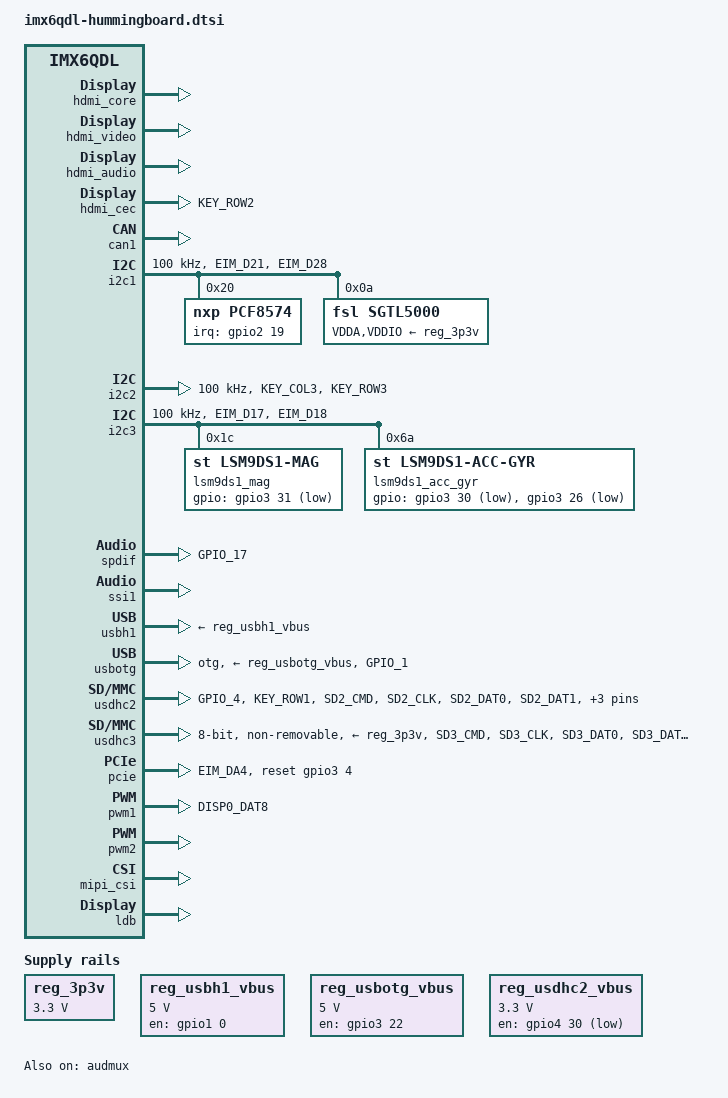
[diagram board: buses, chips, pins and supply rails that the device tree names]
 /*
 * Copyright (C) 2013,2014 Russell King
 */
#include "imx6qdl-microsom.dtsi"
#include "imx6qdl-microsom-ar8035.dtsi"

/ {
	chosen {
		bootargs = "quiet console=ttymxc0,9600 root=/dev/mmcblk1p1 rw";
	};

	aliases {
		mxcfb0 = &mxcfb1;
	};

	//ir_recv: ir-receiver {
	//	compatible = "gpio-ir-receiver";
	//	gpios = <&gpio3 5 1>;
	//	pinctrl-names = "default";
	//	pinctrl-0 = <&pinctrl_hummingboard_gpio3_5>;
	//	linux,rc-map-name = "rc-rc6-mce";
	//};

	regulators {
		compatible = "simple-bus";

		reg_3p3v: 3p3v {
			compatible = "regulator-fixed";
			regulator-name = "3P3V";
			regulator-min-microvolt = <3300000>;
			regulator-max-microvolt = <3300000>;
			regulator-always-on;
		};

		reg_usbh1_vbus: usb-h1-vbus {
			compatible = "regulator-fixed";
			enable-active-high;
			gpio = <&gpio1 0 0>;
			pinctrl-names = "default";
			pinctrl-0 = <&pinctrl_hummingboard_usbh1_vbus>;
			regulator-name = "usb_h1_vbus";
			regulator-min-microvolt = <5000000>;
			regulator-max-microvolt = <5000000>;
		};

		reg_usbotg_vbus: usb-otg-vbus {
			compatible = "regulator-fixed";
			enable-active-high;
			gpio = <&gpio3 22 0>;
			pinctrl-names = "default";
			pinctrl-0 = <&pinctrl_hummingboard_usbotg_vbus>;
			regulator-name = "usb_otg_vbus";
			regulator-min-microvolt = <5000000>;
			regulator-max-microvolt = <5000000>;
		};

		reg_usdhc2_vbus: usdhc-2-vbus {
			compatible = "regulator-fixed";
			regulator-name = "USDHC2-VBUS";
			gpio = <&gpio4 30 0>;
			pinctrl-names = "default";
			pinctrl-0 = <&pinctrl_hummingboard2_usdhc2_pwr>;
			regulator-min-microvolt = <3300000>;
			regulator-max-microvolt = <3300000>;
                };
	};


	sound-sgtl5000 {
		audio-codec = <&sgtl5000>;
		audio-routing =
			"MIC_IN", "Mic Jack",
			"Mic Jack", "Mic Bias",
			"Headphone Jack", "HP_OUT";
		compatible = "fsl,imx-audio-sgtl5000";
		model = "On-board Codec";
		mux-ext-port = <5>;
		mux-int-port = <1>;
		ssi-controller = <&ssi1>;
	};

	sound-spdif {
		compatible = "fsl,imx-audio-spdif";
		model = "imx-spdif";
		spdif-controller = <&spdif>;
		spdif-out;
	};
	

	sound-hdmi {
		compatible = "fsl,imx6q-audio-hdmi",
			     "fsl,imx-audio-hdmi";
		model = "imx-audio-hdmi";
		hdmi-controller = <&hdmi_audio>;
	};


	mxcfb1: fb@0 {
		compatible = "fsl,mxc_sdc_fb";
		disp_dev = "ldb";
		interface_pix_fmt = "RGB666";
		mode_str ="320x480M@60";
		default_bpp = <18>;
		int_clk = <0>;
		late_init = <0>;
		status = "okay";
	};

	//v4l2_cap_0 {
	//	compatible = "fsl,imx6q-v4l2-capture";
	//	ipu_id = <0>;
	//	csi_id = <1>;
	//	mclk_source = <0>;
	//	mipi_camera = <1>;
	//	default_input = <1>;
	//	status = "okay";
	//};

	//v4l2_out {
	//	compatible = "fsl,mxc_v4l2_output";
	//	status = "okay";
	//};
};

&hdmi_core {
	ipu_id = <0>;
	disp_id = <0>;
	status = "okay";
};

&hdmi_video {
	fsl,phy_reg_vlev = <0x0294>;
	fsl,phy_reg_cksymtx = <0x800d>;
	status = "okay";
};

&hdmi_audio {
	status = "okay";
};

&hdmi_cec {
	pinctrl-names = "default";
	pinctrl-0 = <&pinctrl_hummingboard_hdmi>;
	status = "okay";
};

&audmux {
	status = "okay";
};

&can1 {
	pinctrl-names = "default";
	status = "okay";
};

&i2c1 {
	clock-frequency = <100000>;
	pinctrl-names = "default";
	pinctrl-0 = <&pinctrl_hummingboard_i2c1>;
	status = "okay";

	pcf8574: gpio@20 {
		compatible = "nxp,pcf8574";
		reg = <0x20>;

		pinctrl-names = "default";
		pinctrl-0 = <&pinctrl_hummingboard_gpio2_19>;

		interrupt-parent = <&gpio2>;
		interrupts = <19 1>;

		gpio-controller;
		#gpio-cells = <2>;

		interrupt-controller;
		#interrupt-cells = <2>;
	};

	/* Pro model */
	//rtc: pcf8523@68 {
	//	compatible = "nxp,pcf8523";
	//	reg = <0x68>;
	//};

	/* Pro model */
	sgtl5000: sgtl5000@0a {
		clocks = <&clks 201>;
		compatible = "fsl,sgtl5000";
		pinctrl-0 = <&pinctrl_hummingboard_sgtl5000>;
		pinctrl-names = "default";
		reg = <0x0a>;
		VDDA-supply = <&reg_3p3v>;
		VDDIO-supply = <&reg_3p3v>;
	};

	/* Raspberry Pi camera rev 1.3 */
	//ov5647_mipi: ov5647_mipi@36 {
	//	compatible = "ovti,ov5647_mipi";
	//	reg = <0x36>;
	//	/* Pi camera has its own 25MHz clock. */
	//	clocks = <&clks 0>;
	//	clock-names = "csi_mclk";
	//	DOVDD-supply = <&reg_3p3v>;
	//	AVDD-supply = <&reg_3p3v>;
	//	DVDD-supply = <&reg_3p3v>;
	//	pwn-gpios = <&gpio2 10 GPIO_ACTIVE_HIGH>;
	//	led-gpios = <&gpio6 15 GPIO_ACTIVE_HIGH>;
	//	ipu_id = <0>;
	//	csi_id = <1>;
	//	mclk = <25000000>;
	//	mclk_source = <0>;
	//	pinctrl-names = "default";
	//	pinctrl-0 = <&pinctrl_hummingboard_mipi>;
	//	extended-buffer;
	//};
};

&i2c2 {
	clock-frequency = <100000>;
	pinctrl-names = "default";
	pinctrl-0 = <&pinctrl_hummingboard_i2c2>;
	status = "okay";

	//ddc: imx6_hdmi_i2c@50 {
	//	compatible = "fsl,imx6-hdmi-i2c";
	//	reg = <0x50>;
	//};
};

&i2c3 {
	clock-frequency = <100000>;
	pinctrl-names = "default";
	pinctrl-0 = <&pinctrl_hummingboard_i2c3>;
	status = "okay";

	/* LSM9DS1 magnetic sensor */
	lsm9ds1_mag:lsm9ds1_mag@0x1c {
		compatible = "st,lsm9ds1-mag";
		reg = <0x1C>;
		pinctrl-names = "default";
		pinctrl-0 = <&pinctrl_imu_mag>;
		gpios = <&gpio3 31 GPIO_ACTIVE_LOW>; /* IRQ */
		rot-matrix = /bits/ 16 <(1) (0) (0)
			(0) (1) (0)
			(0) (0) (1)>;
		poll-interval = <100>;
		min-interval = <13>;
		fs-range = <0>;
	};

	/* LSM9DS1 accelerometer/gyroscope sensor */
	lsm9ds1_acc_gyr:lsm9ds1_acc_gyr@0x6a {
		compatible = "st,lsm9ds1-acc-gyr";
		reg = <0x6A>;
		pinctrl-names = "default";
		pinctrl-0 = <&pinctrl_imu_acc>;
		gpios = <&gpio3 30 GPIO_ACTIVE_LOW>, /* INT1 */
		        <&gpio3 26 GPIO_ACTIVE_LOW>; /* INT2 */
		rot-matrix = /bits/ 16 <(1) (0) (0)
			(0) (1) (0)
			(0) (0) (1)>;
		g-poll-interval = <100>;
		g-min-interval = <2>;
		g-fs-range = <0>;
		x-poll-interval = <100>;
		x-min-interval = <1>;
		x-fs-range = <0>;
		aa-filter-bw = <0>;
	};
};


&iomuxc {
	pinctrl-names = "default";
	pinctrl-0 = <&pinctrl_hog>;
	hummingboard {
		pinctrl_hog: hoggrp {
			fsl,pins = <
				/*
				 * 26 pin header GPIO description. The pins 
				 * numbering as following -
				 * GPIO number | GPIO (bank,num) |  PIN number
				 * ------------+-----------------+------------
				 * gpio1       | (1,1)           | IO7
				 * gpio73      | (3,9)           | IO11
				 * gpio72      | (3,8)           | IO12
				 * gpio71      | (3,7)           | IO13
				 * gpio70      | (3,6)           | IO15
				 * gpio194     | (7,2)           | IO16
				 * gpio195     | (7,3)           | IO18
				 * gpio67      | (3,3)           | IO22
				 *
				 * Notice the gpioX and GPIO (Y,Z) mapping forumla :
				 * X = (Y-1) * 32 + Z
				 */
				/*MX6QDL_PAD_GPIO_1__GPIO1_IO01 0x400130b1 */
				/* DISP1_DATA00 */
				MX6QDL_PAD_EIM_DA9__GPIO3_IO09 0x400130b1
				/* DISP1_DATA01 */
				MX6QDL_PAD_EIM_DA8__GPIO3_IO08 0x400130b1
				/* DISP1_DATA02 */
				MX6QDL_PAD_EIM_DA7__GPIO3_IO07 0x400130b1
				/* DISP1_DATA03 */
				MX6QDL_PAD_EIM_DA6__GPIO3_IO06 0x400130b1
				/* DISP1_DATA06 */
				MX6QDL_PAD_EIM_DA3__GPIO3_IO03 0x400130b1
				/* DISP1_DATA07 */
				MX6QDL_PAD_EIM_DA2__GPIO3_IO02 0x400130b1
				/* DISP1_DATA10 */
				MX6QDL_PAD_EIM_EB1__GPIO2_IO29 0x400130b1
				/* DISP1_DATA11 */
				MX6QDL_PAD_EIM_EB0__GPIO2_IO28 0x400130b1
				/* DISP1_DATA12 */
				MX6QDL_PAD_EIM_A17__GPIO2_IO21 0x400130b1
				/* DISP1_DATA14 */
				//MX6QDL_PAD_EIM_A19__GPIO2_IO19 0x400130b1
				/* DISP1_DATA17 */
				MX6QDL_PAD_EIM_A22__GPIO2_IO16 0x400130b1
				/* DISP1_DATA18 */
				MX6QDL_PAD_EIM_A23__GPIO6_IO06 0x400130b1
				/* DISP1_DATA19 */
				/* MX6QDL_PAD_EIM_A24__GPIO5_IO04 0x400130b1 */
				/* DISP1_DATA20 */
				/* MX6QDL_PAD_EIM_D31__GPIO3_IO31 0x400130b1 */
				/* DISP1_DATA21 */
				/* MX6QDL_PAD_EIM_D30__GPIO3_IO30 0x400130b1 */
				/* DISP1_DATA22 */
				/* MX6QDL_PAD_EIM_D26__GPIO3_IO26 0x400130b1 */
				/* DISP1_DATA23 */
				MX6QDL_PAD_EIM_D27__GPIO3_IO27 0x400130b1

				//MX6QDL_PAD_SD3_CMD__GPIO7_IO02 0x400130b1
				//MX6QDL_PAD_SD3_CLK__GPIO7_IO03 0x400130b1
			>;
		};

		pinctrl_hummingboard_gpio2_19: hummingboard-gpio2_19 {
			fsl,pins = <
				MX6QDL_PAD_EIM_A19__GPIO2_IO19 0x80000000
			>;
		};

		pinctrl_hummingboard_gpio3_5: hummingboard-gpio3_5 {
			fsl,pins = <
				MX6QDL_PAD_EIM_DA5__GPIO3_IO05 0x80000000
			>;
		};

		pinctrl_hummingboard_hdmi: hummingboard-hdmi {
			fsl,pins = <
				MX6QDL_PAD_KEY_ROW2__HDMI_TX_CEC_LINE 0x1f8b0
			>;
		};

		pinctrl_hummingboard_i2c1: hummingboard-i2c1 {
			fsl,pins = <
				MX6QDL_PAD_EIM_D21__I2C1_SCL 0x4001b8b1
				MX6QDL_PAD_EIM_D28__I2C1_SDA 0x4001b8b1
			>;
		};

		pinctrl_hummingboard_i2c2: hummingboard-i2c2 {
			fsl,pins = <
				MX6QDL_PAD_KEY_COL3__I2C2_SCL 0x4001b8b1
				MX6QDL_PAD_KEY_ROW3__I2C2_SDA 0x4001b8b1
			>;
		};

		pinctrl_hummingboard_i2c3: hummingboard-i2c3 {
			fsl,pins = <
				MX6QDL_PAD_EIM_D17__I2C3_SCL 0x4001b8b1
				MX6QDL_PAD_EIM_D18__I2C3_SDA 0x4001b8b1
			>;
		};

		pinctrl_imu_acc: gpioimxaccgrp {
 			fsl,pins = <
 				MX6QDL_PAD_EIM_D30__GPIO3_IO30	0x4001b0b0 /* SENSE_INT1 DISP1_DATA21 ExtraGPIO_8 */
 				MX6QDL_PAD_EIM_D26__GPIO3_IO26	0x4001b0b0 /* SENSE_INT2 DISP1_DATA22 ExtraGPIO_9 */
 				//MX6QDL_PAD_EIM_D27__GPIO3_IO27	0x4001b0b0 /* GYRO_CONTROL DEN DISP1_DATA23 ExtraGPIO_10  */
 			>;
 		};
 
		pinctrl_imu_mag: gpioimxmaggrp {
 			fsl,pins = <
 				MX6QDL_PAD_EIM_A24__GPIO5_IO04	0x4001b0b0 /* DRDY_M DISP1_DATA19 ExtraGPIO_6 */
 				MX6QDL_PAD_EIM_D31__GPIO3_IO31	0x4001b0b0 /* MAG_INT INT_M DISP1_DATA20 ExtraGPIO_7 */
 			>;
		};	

		pinctrl_hummingboard_sgtl5000: hummingboard-sgtl5000 {
			fsl,pins = <
				MX6QDL_PAD_DISP0_DAT19__AUD5_RXD 0x130b0 /*brk*/
				MX6QDL_PAD_KEY_COL0__AUD5_TXC 0x130b0 /*ok*/
				MX6QDL_PAD_KEY_ROW0__AUD5_TXD 0x110b0 /*brk*/
				MX6QDL_PAD_KEY_COL1__AUD5_TXFS 0x130b0 /*ok*/
				MX6QDL_PAD_GPIO_5__CCM_CLKO1 0x130b0
			>;
		};

		pinctrl_hummingboard_spdif: hummingboard-spdif {
			fsl,pins = <MX6QDL_PAD_GPIO_17__SPDIF_OUT 0x13091>;
		};

		pinctrl_hummingboard_usbh1_vbus: hummingboard-usbh1-vbus {
			fsl,pins = <MX6QDL_PAD_GPIO_0__GPIO1_IO00 0x1b0b0>;
		};

		pinctrl_hummingboard_usbotg_id: hummingboard-usbotg-id {
			/*
			 * Similar to pinctrl_usbotg_2, but we want it
			 * pulled down for a fixed host connection.
			 */
			/*fsl,pins = <MX6QDL_PAD_ENET_RX_ER__USB_OTG_ID 0x13059>;*/
			
			fsl,pins = < MX6QDL_PAD_GPIO_1__USB_OTG_ID 0x17059>;
		};

		pinctrl_hummingboard_usbotg_vbus: hummingboard-usbotg-vbus {
			/*fsl,pins = <MX6QDL_PAD_EIM_D22__GPIO3_IO22 0x1b0b0>;*/
			fsl,pins = <MX6QDL_PAD_EIM_D22__GPIO3_IO22 0x000b0>;
		};

		pinctrl_hummingboard2_usdhc2_pwr: hummingboard2-usdhc2-pwr {
			fsl,pins = <MX6QDL_PAD_DISP0_DAT9__GPIO4_IO30 0x1b0b0>;
		};

		pinctrl_hummingboard_usdhc2_aux: hummingboard-usdhc2-aux {
			fsl,pins = <
				MX6QDL_PAD_GPIO_4__GPIO1_IO04    0x1f071
				MX6QDL_PAD_KEY_ROW1__SD2_VSELECT 0x1b071
			>;
		};

		pinctrl_hummingboard_usdhc2: hummingboard-usdhc2 {
			fsl,pins = <
				MX6QDL_PAD_SD2_CMD__SD2_CMD    0x17059
				MX6QDL_PAD_SD2_CLK__SD2_CLK    0x10059
				MX6QDL_PAD_SD2_DAT0__SD2_DATA0 0x17059
				MX6QDL_PAD_SD2_DAT1__SD2_DATA1 0x17059
				MX6QDL_PAD_SD2_DAT2__SD2_DATA2 0x17059
				MX6QDL_PAD_SD2_DAT3__SD2_DATA3 0x13059
			>;
		};

		pinctrl_hummingboard2_usdhc3: hummingboard2-usdhc3 {
			fsl,pins = <
				MX6QDL_PAD_SD3_CMD__SD3_CMD    0x17059
				MX6QDL_PAD_SD3_CLK__SD3_CLK    0x10059
				MX6QDL_PAD_SD3_DAT0__SD3_DATA0 0x17059
				MX6QDL_PAD_SD3_DAT1__SD3_DATA1 0x17059
				MX6QDL_PAD_SD3_DAT2__SD3_DATA2 0x17059
				MX6QDL_PAD_SD3_DAT3__SD3_DATA3 0x17059
				MX6QDL_PAD_SD3_DAT4__SD3_DATA4 0x17059
				MX6QDL_PAD_SD3_DAT5__SD3_DATA5 0x17059
				MX6QDL_PAD_SD3_DAT6__SD3_DATA6 0x17059
				MX6QDL_PAD_SD3_DAT7__SD3_DATA7 0x13059
				MX6QDL_PAD_SD3_RST__SD3_RESET  0x17059
			>;
		};

		pinctrl_hummingboard_pcie_reset: hummingboard-pcie-reset {
			fsl,pins = <
				MX6QDL_PAD_EIM_DA4__GPIO3_IO04 0x80000000
			>;
		};

		pinctrl_pwm1: pwm1grp {
			fsl,pins = <
				MX6QDL_PAD_DISP0_DAT8__PWM1_OUT 0x1b0b1
			>;
		};

		pinctrl_hummingboard_mipi: hummingboard_mipi {
			fsl,pins = <
				MX6QDL_PAD_SD4_DAT2__GPIO2_IO10 0x17059
				MX6QDL_PAD_NANDF_CS2__GPIO6_IO15 0x13059
			>;
		};
	};
};

&spdif {
	pinctrl-names = "default";
	pinctrl-0 = <&pinctrl_hummingboard_spdif>;
	clocks = <&clks 197>, <&clks 0>,
		 <&clks 197>, <&clks 0>,
		 <&clks 0>,   <&clks 0>,
		 <&clks 0>,   <&clks 0>,
		 <&clks 0>;
	clock-names = "core",  "rxtx0",
		      "rxtx1", "rxtx2",
		      "rxtx3", "rxtx4",
		      "rxtx5", "rxtx6",
		      "rxtx7";
	status = "okay";
};

&ssi1 {
	fsl,mode = "i2s-slave";
	status = "okay";
};

&usbh1 {
	disable-over-current;
	vbus-supply = <&reg_usbh1_vbus>;
	status = "okay";
};

&usbotg {
	disable-over-current;
	pinctrl-names = "default";
	pinctrl-0 = <&pinctrl_hummingboard_usbotg_id>;
	vbus-supply = <&reg_usbotg_vbus>;
	dr_mode = "otg";
	status = "okay";
};

&usdhc2 {
	pinctrl-names = "default";
	pinctrl-0 = <
		&pinctrl_hummingboard_usdhc2_aux
		&pinctrl_hummingboard_usdhc2
	>;

	card-external-vcc-supply = <&reg_usdhc2_vbus>;
	cd-gpios = <&gpio1 4 0>;
	status = "okay";
};

&usdhc3 {
	pinctrl-names = "default";
	pinctrl-0 = <
		&pinctrl_hummingboard2_usdhc3
	>;
	vmmc-supply = <&reg_3p3v>;
	bus-width = <8>;
	non-removable;
	status = "okay";
};

&gpc {
	fsl,cpu_pupscr_sw2iso = <0xf>;
	fsl,cpu_pupscr_sw = <0xf>;
	fsl,cpu_pdnscr_iso2sw = <0x1>;
	fsl,cpu_pdnscr_iso = <0x1>;
};

&pcie {
	pinctrl-names = "default";
	pinctrl-0 = <
		&pinctrl_hummingboard_pcie_reset
	>;
	reset-gpio = <&gpio3 4 0>;
	status = "okay";
	no-msi;
};

&pwm1 {
        pinctrl-names = "default";
        pinctrl-0 = <&pinctrl_pwm1>;
        status = "okay";
};

&pwm2 {
        pinctrl-names = "default";
        status = "okay";
};

&pwm3 {
	status = "disabled";
};

&pwm4 {
	status = "disabled";
};

&mipi_csi {
	ipu_id = <0>;
	csi_id = <1>;
	v_channel = <0>;
	lanes = <2>;
	mipi_dphy_clk = <0x28>;
	status = "okay";
};

&ldb {
   ipu_id = <0>;
   disp_id = <1>;
   ext_ref = <1>;
   mode = "sin0";
   sec_ipu_id = <0>;
   sec_disp_id = <0>;
   status = "okay";

   lvds-channel@0 {
        crtc = "ipu1-di0";
      fsl,data-mapping = "spwg";
      fsl,data-width = <18>;
      status = "okay";

      display-timings {
         native-mode = <&timing0>;
         timing0: hsd100pxn1 {
            clock-frequency = <8000000>;
            hactive = <320>;
            vactive = <480>;
            hback-porch = <3>;
            hfront-porch = <3>;
            vback-porch = <2>;
            vfront-porch = <4>;
            hsync-len = <2>;
            vsync-len = <2>;
         };
      };
   };
};
